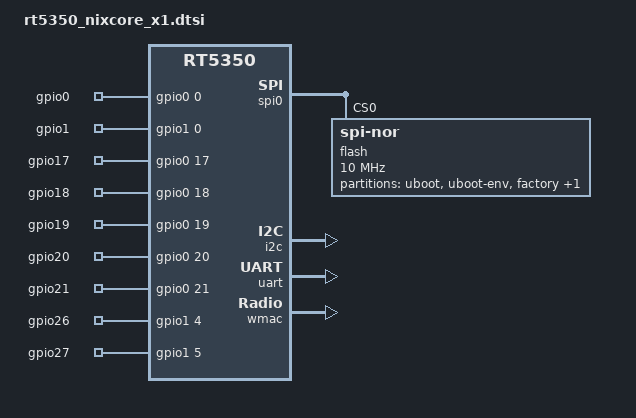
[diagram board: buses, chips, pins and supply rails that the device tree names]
#include "rt5350.dtsi"

#include <dt-bindings/gpio/gpio.h>

/ {
	compatible = "nixcore,x1", "ralink,rt5350-soc";

	chosen {
		bootargs = "console=ttyS1,57600";
	};

	gpio-export {
		compatible = "gpio-export";
		#size-cells = <0>;

		gpio0 {
			gpio-export,name = "gpio0";
			gpio-export,direction_may_change = <1>;
			gpios = <&gpio0 0 GPIO_ACTIVE_HIGH>;
		};

		gpio1 {
			gpio-export,name = "gpio1";
			gpio-export,direction_may_change = <1>;
			gpios = <&gpio1 0 GPIO_ACTIVE_HIGH>;
		};

		/* GPIOs 1-6 are I2C,SPI */
		/* GPIO 7-14 are uart1 */
		/* GPIOs 15 & 16 are uart2 */
		/* JTAG */

		gpio17 {
			/* JTAG_TDO */
			gpio-export,name = "gpio17";
			gpio-export,direction_may_change = <1>;
			gpios = <&gpio0 17 GPIO_ACTIVE_HIGH>;
		};

		gpio18 {
			/* JTAG_TDI */
			gpio-export,name = "gpio18";
			gpio-export,direction_may_change = <1>;
			gpios = <&gpio0 18 GPIO_ACTIVE_HIGH>;
		};

		gpio19 {
			/* JTAG_TMS */
			gpio-export,name = "gpio19";
			gpio-export,direction_may_change = <1>;
			gpios = <&gpio0 19 GPIO_ACTIVE_HIGH>;
		};

		gpio20 {
			/* JTAG_TCLK */
			gpio-export,name = "gpio20";
			gpio-export,direction_may_change = <1>;
			gpios = <&gpio0 20 GPIO_ACTIVE_HIGH>;
		};

		gpio21 {
			/* JTAG_TRST_N */
			gpio-export,name = "gpio21";
			gpio-export,direction_may_change = <1>;
			gpios = <&gpio0 21 GPIO_ACTIVE_HIGH>;
		};

		/* ETH LEDs */
		/*
		gpio22 {
			gpio-export,name = "gpio22";
			gpio-export,direction_may_change = <1>;
			gpios = <&gpio1 0 GPIO_ACTIVE_HIGH>;
		};

		gpio23 {
			gpio-export,name = "gpio23";
			gpio-export,direction_may_change = <1>;
			gpios = <&gpio1 1 GPIO_ACTIVE_HIGH>;
		};

		gpio24 {
			gpio-export,name = "gpio24";
			gpio-export,direction_may_change = <1>;
			gpios = <&gpio1 2 GPIO_ACTIVE_HIGH>;
		};

		gpio25 {
			gpio-export,name = "gpio25";
			gpio-export,direction_may_change = <1>;
			gpios = <&gpio1 3 GPIO_ACTIVE_HIGH>;
		};

		*/
		gpio26 {
			/* ETH4_LED */
			gpio-export,name = "gpio26";
			gpio-export,direction_may_change = <1>;
			gpios = <&gpio1 4 GPIO_ACTIVE_HIGH>;
		};

		gpio27 {
			/* spi_cs1 */
			gpio-export,name = "gpio27";
			gpio-export,direction_may_change = <1>;
			gpios = <&gpio1 5 GPIO_ACTIVE_HIGH>;
		};
	};
};

&spi0 {
	status = "okay";

	flash@0 {
		compatible = "jedec,spi-nor";
		reg = <0>;
		spi-max-frequency = <10000000>;

		partitions {
			compatible = "fixed-partitions";
			#address-cells = <1>;
			#size-cells = <1>;

			partition@0 {
				label = "uboot";
				reg = <0x0 0x30000>;
				read-only;
			};

			partition@30000 {
				label = "uboot-env";
				reg = <0x30000 0x10000>;
				read-only;
			};

			factory: partition@40000 {
				label = "factory";
				reg = <0x40000 0x10000>;
				read-only;
			};

			firmware: partition@50000 {
				compatible = "denx,uimage";
				label = "firmware";
				/* reg property is set based on flash size in DTS files */
			};
		};
	};
};

&gpio1 {
	status = "okay";
};

&i2c {
	status = "okay";
};

&uart {
	status = "okay";
	reset-names = "gpio uartf";
};

&state_default {
	gpio {
		groups = "jtag", "led", "spi_cs1";
		function = "gpio";
	};
};

&ethernet {
	nvmem-cells = <&macaddr_factory_4>;
	nvmem-cell-names = "mac-address";
};

&esw {
	mediatek,portmap = <0x17>;
};

&wmac {
	ralink,mtd-eeprom = <&factory 0x0>;
};

&factory {
	compatible = "nvmem-cells";
	#address-cells = <1>;
	#size-cells = <1>;

	macaddr_factory_4: macaddr@4 {
		reg = <0x4 0x6>;
	};
};
